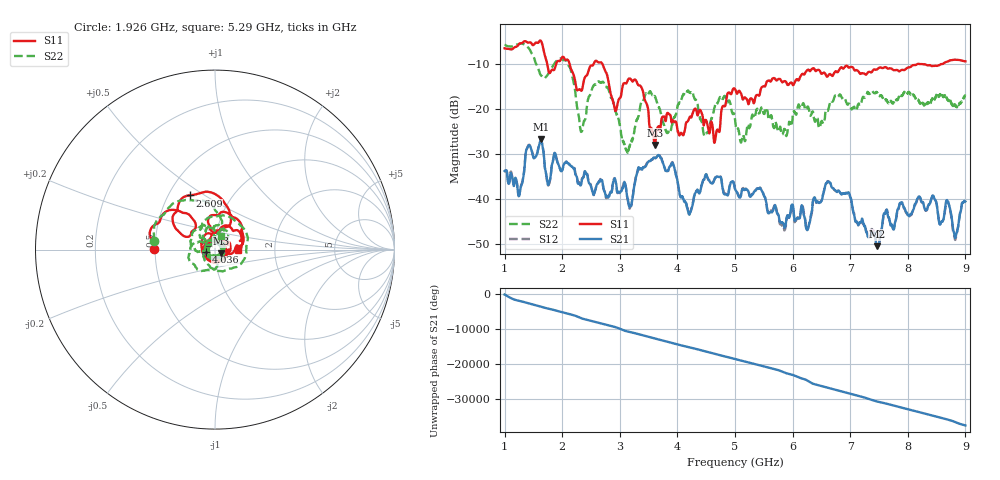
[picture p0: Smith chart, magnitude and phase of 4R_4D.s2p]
!Keysight Technologies N9915A: A.10.33
!Date: Tuesday, 12 May 2020 14:25:35
!Timezone: (UTC+08:00) Perth
!Model: N9915A
!Serial: MY53102697
!GPS Latitude:
!GPS Longitude:
!GPS TimeStamp: 0001-01-01 00:00:00Z
!GPS Seconds Since Last Read: 0
!CHECKSUM:1904434133
!Correction: S11(ON U)S21(ON U)S12(ON U)S22(ON U)
!S2P File: Measurements:S11,S21,S12,S22:
# Hz S DB R 50
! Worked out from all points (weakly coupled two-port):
!   10001 points, 1 GHz to 9 GHz, reference 50 ohm
!   highest |S21| = -26.77 dB at 1.629 GHz (marker M1); lowest = -50.4 dB at 7.465 GHz (marker M2)
!   lowest |S11| = -28.0 dB at 3.608 GHz (marker M3), VSWR 1.08, Z = 53.5 - j2.24 ohm
!   |S11| at or under -10 dB: 1.739 GHz to 1.896 GHz (157.5 MHz wide, 8.67 % of centre); 2.127 GHz to 2.549 GHz (422.3 MHz wide, 18.1 % of centre); 2.694 GHz to 8.619 GHz (5.925 GHz wide, 105 % of centre)
!   |S22| runs from -29.7 to -5.5 dB; largest |S21 - S12| = 0.013
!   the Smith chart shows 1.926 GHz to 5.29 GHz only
!   S11 on the Smith chart (normalised r, x): 1.926 GHz: 0.49, +0.01; 2.609 GHz: 0.64, +0.43; 4.036 GHz: 0.91, -0.03; 5.29 GHz: 1.30, -0.00
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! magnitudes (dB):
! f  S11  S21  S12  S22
! 1 GHz  -6.6  -33.8  -34.0  -5.8
! 1.264 GHz  -5.5  -38.6  -38.4  -5.6
! 1.629 GHz  -4.9  -26.8  -26.8  -12.6
! 1.756 GHz  -11.2  -36.9  -36.9  -12.3
! 1.926 GHz  -9.4  -32.1  -32.1  -9.3
! 2.334 GHz  -16.0  -36.5  -36.3  -25.1
! 2.609 GHz  -9.5  -36.6  -36.7  -14.1
! 2.92 GHz  -20.4  -35.6  -35.8  -20.0
! 3.125 GHz  -14.1  -39.3  -39.4  -29.3
! 3.608 GHz  -28.0  -30.9  -30.9  -17.3
! 3.667 GHz  -24.0  -30.2  -30.2  -19.3
! 4.036 GHz  -25.9  -38.6  -38.7  -18.5
! 4.663 GHz  -26.3  -35.2  -35.2  -19.2
! 5 GHz  -15.6  -37.7  -37.7  -22.3
! 5.29 GHz  -17.7  -39.1  -39.1  -21.7
! 6.334 GHz  -11.2  -42.7  -43.0  -20.8
! 6.628 GHz  -12.4  -36.2  -36.1  -19.8
! 7.465 GHz  -11.3  -50.4  -49.9  -16.4
! 7.667 GHz  -11.1  -44.1  -44.0  -18.7
! 8.446 GHz  -10.5  -39.4  -39.3  -17.9
! 8.824 GHz  -9.1  -48.5  -49.0  -19.2
! 9 GHz  -9.5  -40.5  -40.6  -17.1
